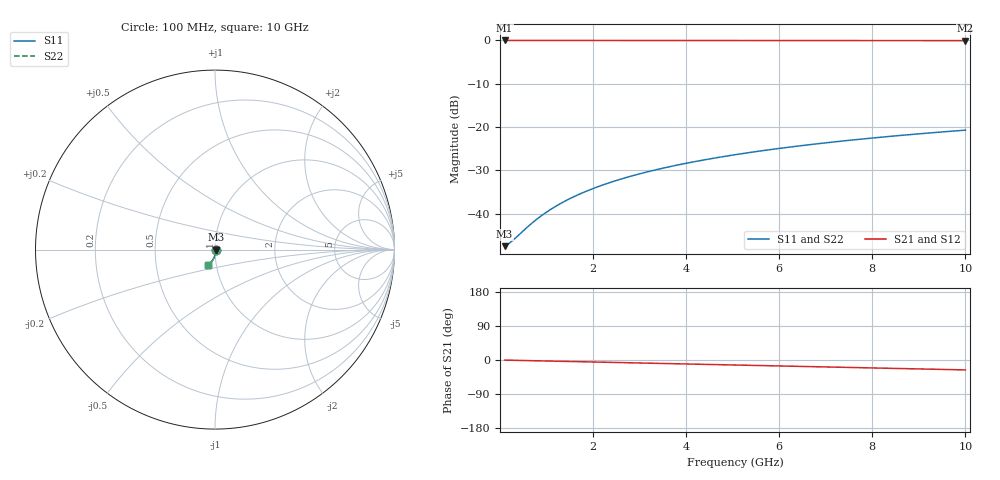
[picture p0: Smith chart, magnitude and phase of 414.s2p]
# Hz S RI R 50.00
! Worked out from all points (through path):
!   100 points, 100 MHz to 10 GHz, reference 50 ohm
!   highest |S21| = -0.04 dB at 100 MHz (marker M1); lowest = -0.1 dB at 10 GHz (marker M2)
!   group delay of S21, straight-line fit = 7.26 ps
!   lowest |S11| = -47.5 dB at 100 MHz (marker M3), VSWR 1.01, Z = 50.4 - j0.0979 ohm
!   |S11| at or under -10 dB: start of sweep to end of sweep
!   |S22| runs from -47.5 to -20.7 dB; largest |S21 - S12| = 0
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1e8  0.0041 -0.000971  0.9959 -0.00455  0.9959 -0.00455  0.0041 -0.000971
2e8  0.00411 -0.00194  0.9958 -0.0091  0.9958 -0.0091  0.00411 -0.00194
3e8  0.00411 -0.00291  0.9957 -0.0137  0.9957 -0.0137  0.00411 -0.00291
6e8  0.00403 -0.00582  0.9954 -0.0273  0.9954 -0.0273  0.00403 -0.00582
7e8  0.00398 -0.00679  0.9952 -0.0319  0.9952 -0.0319  0.00398 -0.00679
8e8  0.00392 -0.00776  0.9951 -0.0364  0.9951 -0.0364  0.00392 -0.00776
1e9  0.00378 -0.0097  0.9946 -0.0455  0.9946 -0.0455  0.00378 -0.0097
1.2e9  0.00359 -0.0116  0.9941 -0.0546  0.9941 -0.0546  0.00359 -0.0116
1.4e9  0.00338 -0.0136  0.9936 -0.0637  0.9936 -0.0637  0.00338 -0.0136
1.6e9  0.00312 -0.0155  0.9929 -0.0727  0.9929 -0.0727  0.00312 -0.0155
1.8e9  0.00283 -0.0174  0.9921 -0.0818  0.9921 -0.0818  0.00283 -0.0174
2.1e9  0.00233 -0.0203  0.9908 -0.0954  0.9908 -0.0954  0.00233 -0.0203
2.5e9  0.00154 -0.0241  0.9888 -0.1135  0.9888 -0.1135  0.00154 -0.0241
2.9e9  0.000608 -0.0278  0.9864 -0.1315  0.9864 -0.1315  0.000608 -0.0278
3.4e9  -0.000747 -0.0325  0.983 -0.154  0.983 -0.154  -0.000747 -0.0325
4.2e9  -0.00335 -0.0398  0.9764 -0.1897  0.9764 -0.1897  -0.00335 -0.0398
5.1e9  -0.0069 -0.0478  0.9673 -0.2296  0.9673 -0.2296  -0.0069 -0.0478
5.9e9  -0.0106 -0.0546  0.9579 -0.2646  0.9579 -0.2646  -0.0106 -0.0546
6.7e9  -0.0148 -0.0611  0.9471 -0.2993  0.9471 -0.2993  -0.0148 -0.0611
7.5e9  -0.0194 -0.0674  0.935 -0.3334  0.935 -0.3334  -0.0194 -0.0674
8.4e9  -0.0251 -0.0739  0.9199 -0.3712  0.9199 -0.3712  -0.0251 -0.0739
1e10  -0.0365 -0.0843  0.8893 -0.4365  0.8893 -0.4365  -0.0365 -0.0843
